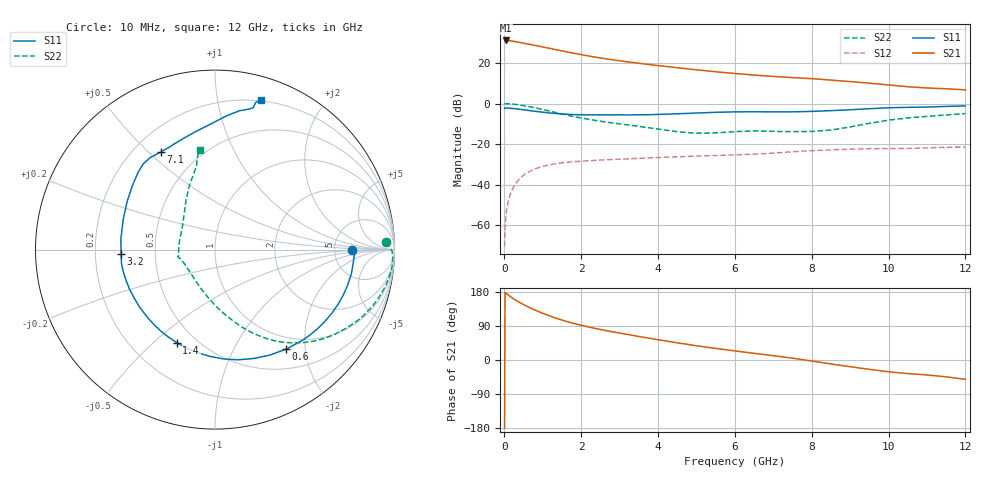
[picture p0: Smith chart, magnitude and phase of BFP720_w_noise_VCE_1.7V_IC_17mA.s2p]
! Infineon Technologies  Discrete & RF Semiconductors
! BFP720
! VCE =  1.7 V,  IC =  17 mA
! Common Emitter S-Parameters:  Aug 2012
# GHz  S  MA  R  50
!  f  S11  S21  S12  S22
! GHz  MAG  ANG  MAG  ANG  MAG  ANG  MAG  ANG
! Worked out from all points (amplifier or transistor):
!   105 points, 10 MHz to 12 GHz, reference 50 ohm
!   highest |S21| = 31.2 dB at 50 MHz (marker M1)
!   |S21| within 3 dB of that: start of sweep to 947.9 MHz
!   unconditionally stable (mu >= 1): start of sweep to 13.91 MHz; 4.599 GHz to 11.15 GHz
!   at 300 MHz: K = 0.13, MSG = 35.0 dB, |S12| = -39.5 dB
!   at 3.6 GHz: K = 0.86, MSG = 23.3 dB, |S12| = -27.0 dB
!   at 12 GHz: K = 0.80, MSG = 14.1 dB, |S12| = -21.5 dB
!   lowest NFmin = 0.67 dB at 450 MHz
!   S11 on the Smith chart (normalised r, x): 10 MHz: 7.53, +0.00; 600 MHz: 0.80, -1.65; 1.4 GHz: 0.39, -0.60; 3.2 GHz: 0.31, -0.02; 7.1 GHz: 0.31, +0.55; 12 GHz: 0.19, +1.33
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0.01  0.7655 -0.0  35.41 -179.7  0.0003 -28.9  0.9544 2.5
0.02  0.7777 -1.9  35.83 178.1  0.0008 91.8  0.9867 -0.5
0.05  0.7744 -4.9  36.12 175.9  0.0019 87.9  0.9912 -2.4
0.15  0.7653 -14.8  35.42 168.1  0.0055 82.8  0.9839 -8.5
0.3  0.7413 -28.6  33.62 157.9  0.0106 75.7  0.9487 -16.7
0.45  0.7123 -41.7  31.63 149.1  0.0153 69.6  0.9041 -24.2
0.6  0.6819 -54.4  29.73 141.3  0.0195 64.0  0.8524 -30.9
0.8  0.6434 -70.6  27.31 131.9  0.0243 57.2  0.7834 -39.3
0.9  0.6273 -78.2  26.13 127.6  0.0262 54.1  0.7475 -43.1
1.1  0.5953 -92.9  23.9 119.4  0.0296 48.7  0.6775 -50.1
1.4  0.5606 -112.4  20.88 108.7  0.0333 42.2  0.5827 -59.0
1.7  0.5386 -128.9  18.29 99.5  0.0359 37.3  0.5027 -66.3
2.1  0.5259 -145.5  15.51 89.5  0.0382 32.8  0.4231 -74.2
2.6  0.5243 -161.3  12.91 78.6  0.0405 29.0  0.3543 -82.8
3.2  0.5232 -177.6  10.73 67.7  0.043 26.1  0.2973 -92.2
4.1  0.541 159.5  8.453 51.9  0.0468 22.8  0.2273 -110.9
5  0.5834 141.8  6.811 37.5  0.0502 19.8  0.1861 -141.4
6.1  0.6236 128.8  5.425 22.7  0.0543 17.5  0.204 -166.7
7.1  0.6223 119.1  4.605 10.1  0.0607 16.1  0.2043 -173.3
8.5  0.667 99.1  3.799 -10.4  0.0716 7.9  0.2213 145.2
10.5  0.806 76.3  2.597 -35.9  0.0778 -4.9  0.4414 105.4
12  0.8744 73.0  2.173 -51.0  0.0841 -13.6  0.5639 98.8
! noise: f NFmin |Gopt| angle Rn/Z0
0.45  0.67  0.19  1  0.39
1.8  0.74  0.2  11  0.14
2.4  0.79  0.19  17  0.43
5.5  1.01  0.11  -46  0.18
10  1.18  0.45  -73  0.29
